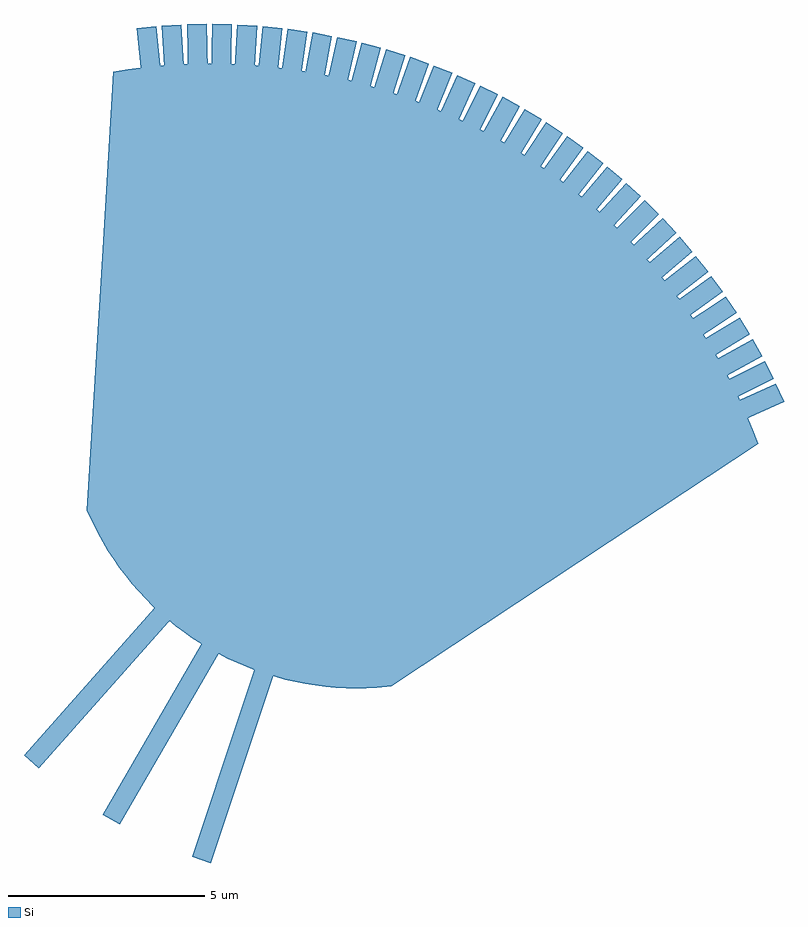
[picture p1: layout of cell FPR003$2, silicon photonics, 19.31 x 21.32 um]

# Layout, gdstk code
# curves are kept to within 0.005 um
from math import pi, radians
import gdstk
lib = gdstk.Library(unit=1e-6, precision=1e-09)
def R(c, l, rs):  # rectangles x0, y0, x1, y1
    for r in rs: c.add(gdstk.rectangle(r[:2], r[2:], *l))
def P(c, l, *ps):  # polygons
    for p in ps: c.add(gdstk.Polygon(p, *l))
Si = (1, 0)

taper006_2 = lib.new_cell('taper006$2')
R(taper006_2, Si, [(-1,-0.25,2.5,0.25)])

taper005_2 = lib.new_cell('taper005$2')
R(taper005_2, Si, [(-5,-0.25,2.5,0.25)])

boolean004_2 = lib.new_cell('boolean004$2')
P(boolean004_2, Si, [(4.042,-9.461),(-5.95,-4.465),(-6.168,-4.16),(-6.309,-3.943),(-6.569,-3.493),(-6.797,-3.026),(-6.991,-2.545),(-7.076,-2.299),(-7.219,-1.8),(-7.327,-1.292),(-7.368,-1.035),(-7.422,-0.519),(-7.44,0),(-7.422,0.519),(-7.368,1.035),(-7.327,1.292),(-7.219,1.8),(-7.076,2.299),(-6.991,2.545),(-6.797,3.026),(-6.569,3.493),(-6.309,3.943),(-6.168,4.16),(-5.95,4.465),(4.042,9.461),(4.286,9.161),(4.598,8.746),(4.896,8.321),(5.179,7.885),(5.446,7.44),(5.698,6.986),(5.934,6.523),(6.154,6.052),(6.356,5.574),(6.543,5.089),(6.712,4.598),(6.864,4.101),(6.998,3.6),(7.115,3.094),(7.214,2.584),(7.295,2.071),(7.358,1.555),(7.404,1.038),(7.431,0.519),(7.44,0),(7.431,-0.519),(7.404,-1.038),(7.358,-1.555),(7.295,-2.071),(7.214,-2.584),(7.115,-3.094),(6.998,-3.6),(6.864,-4.101),(6.712,-4.598),(6.543,-5.089),(6.356,-5.574),(6.154,-6.052),(5.934,-6.523),(5.698,-6.986),(5.446,-7.44),(5.179,-7.885),(4.896,-8.321),(4.598,-8.746),(4.286,-9.161)])

fpr003_2 = lib.new_cell('FPR003$2')
fpr003_2.add(gdstk.Reference(taper006_2, (24.734,-0.346), rotation=radians(204.1877)))
fpr003_2.add(gdstk.Reference(taper006_2, (24.477,0.196), rotation=radians(206.4982)))
fpr003_2.add(gdstk.Reference(taper006_2, (24.198,0.727), rotation=radians(208.8087)))
fpr003_2.add(gdstk.Reference(taper006_2, (23.899,1.247), rotation=radians(211.1191)))
fpr003_2.add(gdstk.Reference(taper006_2, (23.578,1.754), rotation=radians(213.4296)))
fpr003_2.add(gdstk.Reference(taper006_2, (23.238,2.248), rotation=radians(215.7401)))
fpr003_2.add(gdstk.Reference(taper006_2, (22.878,2.728), rotation=radians(218.0505)))
fpr003_2.add(gdstk.Reference(taper005_2, (11.16,-6.443), rotation=radians(60), x_reflection=True))
fpr003_2.add(gdstk.Reference(taper006_2, (12.648,8.362), rotation=radians(264.2599)))
fpr003_2.add(gdstk.Reference(taper006_2, (12.05,8.41), rotation=radians(266.5704)))
fpr003_2.add(gdstk.Reference(taper006_2, (10.251,8.409), rotation=radians(273.5018)))
fpr003_2.add(gdstk.Reference(taper006_2, (17.807,6.869), rotation=radians(243.4657)))
fpr003_2.add(gdstk.Reference(taper006_2, (21.252,4.491), rotation=radians(227.2924)))
fpr003_2.add(gdstk.Reference(taper006_2, (13.244,8.29), rotation=radians(261.9495)))
fpr003_2.add(gdstk.Reference(taper006_2, (14.424,8.074), rotation=radians(257.3285)))
fpr003_2.add(gdstk.Reference(taper006_2, (9.653,8.36), rotation=radians(275.8123)))
fpr003_2.add(gdstk.Reference(taper006_2, (20.339,5.269), rotation=radians(231.9134)))
fpr003_2.add(gdstk.Reference(taper006_2, (22.101,3.642), rotation=radians(222.6715)))
fpr003_2.add(gdstk.Reference(taper006_2, (13.836,8.194), rotation=radians(259.639)))
fpr003_2.add(gdstk.Reference(taper006_2, (10.851,8.434), rotation=radians(271.1913)))
fpr003_2.add(gdstk.Reference(taper006_2, (17.265,7.127), rotation=radians(245.7762)))
fpr003_2.add(gdstk.Reference(taper005_2, (9.943,-5.566), rotation=radians(48.4288), x_reflection=True))
fpr003_2.add(gdstk.Reference(boolean004_2, (14.88,0), rotation=radians(60), x_reflection=True))
fpr003_2.add(gdstk.Reference(taper006_2, (16.152,7.574), rotation=radians(250.3971)))
fpr003_2.add(gdstk.Reference(taper006_2, (21.685,4.075), rotation=radians(224.9819)))
fpr003_2.add(gdstk.Reference(taper006_2, (11.451,8.434), rotation=radians(268.8809)))
fpr003_2.add(gdstk.Reference(taper005_2, (12.528,-7.058), rotation=radians(71.5712), x_reflection=True))
fpr003_2.add(gdstk.Reference(taper006_2, (15.007,7.931), rotation=radians(255.0181)))
fpr003_2.add(gdstk.Reference(taper006_2, (15.583,7.764), rotation=radians(252.7076)))
fpr003_2.add(gdstk.Reference(taper006_2, (18.339,6.591), rotation=radians(241.1552)))
fpr003_2.add(gdstk.Reference(taper006_2, (18.858,6.291), rotation=radians(238.8448)))
fpr003_2.add(gdstk.Reference(taper006_2, (19.365,5.97), rotation=radians(236.5343)))
fpr003_2.add(gdstk.Reference(taper006_2, (16.713,7.362), rotation=radians(248.0866)))
fpr003_2.add(gdstk.Reference(taper006_2, (19.859,5.629), rotation=radians(234.2238)))
fpr003_2.add(gdstk.Reference(taper006_2, (20.803,4.889), rotation=radians(229.6029)))
fpr003_2.add(gdstk.Reference(taper006_2, (22.498,3.193), rotation=radians(220.361)))

lib.write_gds('FPR003_2.gds')
